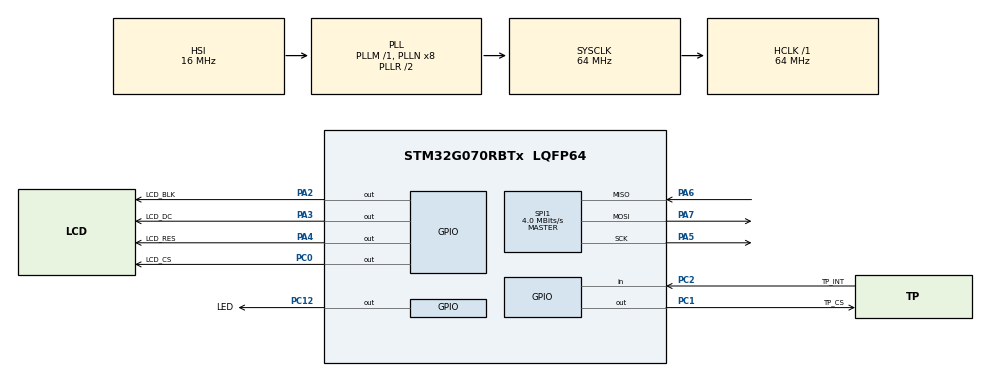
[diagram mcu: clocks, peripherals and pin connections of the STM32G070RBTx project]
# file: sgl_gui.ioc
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Mcu.Family=STM32G0
Mcu.Name=STM32G070RBTx
Mcu.Package=LQFP64
PA13.Mode=Serial_Wire
PA13.Signal=SYS_SWDIO
PA14-BOOT0.Mode=Serial_Wire
PA14-BOOT0.Signal=SYS_SWCLK
PA2.GPIO_Label=LCD_BLK
PA2.GPIO_ModeDefaultOutputPP=GPIO_MODE_OUTPUT_PP
PA2.GPIO_PuPd=GPIO_NOPULL
PA2.GPIO_Speed=GPIO_SPEED_FREQ_MEDIUM
PA2.PinState=GPIO_PIN_SET
PA2.Signal=GPIO_Output
PA3.GPIO_Label=LCD_DC
PA3.GPIO_ModeDefaultOutputPP=GPIO_MODE_OUTPUT_PP
PA3.GPIO_PuPd=GPIO_NOPULL
PA3.GPIO_Speed=GPIO_SPEED_FREQ_MEDIUM
PA3.PinState=GPIO_PIN_SET
PA3.Signal=GPIO_Output
PA4.GPIO_Label=LCD_RES
PA4.GPIO_ModeDefaultOutputPP=GPIO_MODE_OUTPUT_PP
PA4.GPIO_PuPd=GPIO_NOPULL
PA4.GPIO_Speed=GPIO_SPEED_FREQ_MEDIUM
PA4.PinState=GPIO_PIN_SET
PA4.Signal=GPIO_Output
PA5.Mode=Full_Duplex_Master
PA5.Signal=SPI1_SCK
PA6.Mode=Full_Duplex_Master
PA6.Signal=SPI1_MISO
PA7.Mode=Full_Duplex_Master
PA7.Signal=SPI1_MOSI
PC0.GPIO_Label=LCD_CS
PC0.GPIO_ModeDefaultOutputPP=GPIO_MODE_OUTPUT_PP
PC0.GPIO_PuPd=GPIO_NOPULL
PC0.GPIO_Speed=GPIO_SPEED_FREQ_MEDIUM
PC0.PinState=GPIO_PIN_SET
PC0.Signal=GPIO_Output
PC1.GPIO_Label=TP_CS
PC1.GPIO_ModeDefaultOutputPP=GPIO_MODE_OUTPUT_PP
PC1.GPIO_PuPd=GPIO_NOPULL
PC1.GPIO_Speed=GPIO_SPEED_FREQ_MEDIUM
PC1.PinState=GPIO_PIN_SET
PC1.Signal=GPIO_Output
PC12.GPIO_Label=LED
PC12.Signal=GPIO_Output
PC2.GPIO_Label=TP_INT
PC2.GPIO_PuPd=GPIO_PULLUP
PC2.Signal=GPIO_Input
ProjectManager.HeapSize=0x200
ProjectManager.StackSize=0x400
ProjectManager.TargetToolchain=CMake
RCC.ADCFreq_Value=64000000
RCC.AHBFreq_Value=64000000
RCC.CortexFreq_Value=64000000
RCC.EXTERNAL_CLOCK_VALUE=48000
RCC.HCLKFreq_Value=64000000
RCC.HSE_VALUE=8000000
RCC.HSI_VALUE=16000000
RCC.LSE_VALUE=32768
RCC.SYSCLKFreq_VALUE=64000000
RCC.SYSCLKSource=RCC_SYSCLKSOURCE_PLLCLK
RCC.VCOOutputFreq_Value=128000000
SPI1.BaudRatePrescaler=SPI_BAUDRATEPRESCALER_16
SPI1.CalculateBaudRate=4.0 MBits/s
SPI1.DataSize=SPI_DATASIZE_8BIT
SPI1.Direction=SPI_DIRECTION_2LINES
SPI1.Mode=SPI_MODE_MASTER
SPI1.VirtualType=VM_MASTER
board=custom

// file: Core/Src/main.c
/* USER CODE BEGIN Header */
/**
 ******************************************************************************
 * @file           : main.c
 * @brief          : Main program body
 ******************************************************************************
 * @attention
 *
 * Copyright (c) 2025 STMicroelectronics.
 * All rights reserved.
 *
 * This software is licensed under terms that can be found in the LICENSE file
 * in the root directory of this software component.
 * If no LICENSE file comes with this software, it is provided AS-IS.
 *
 ******************************************************************************
 */
/* USER CODE END Header */
#include "main.h"
#include "spi.h"
#include "gpio.h"

/* USER CODE BEGIN Includes */
#include "log.h"
#include "sgl.h"
#include "xpt2046.h"
#include "st7789.h"

/* USER CODE END Includes */

/* USER CODE BEGIN PV */
#define PANEL_WIDTH 240
#define PANEL_HEIGHT 320

sgl_color_t panel_buffer[PANEL_WIDTH * 10];

#define CLR_BG_BASE sgl_rgb(0x0A, 0x0E, 0x17)
#define CLR_CARD_BG sgl_rgb(0x1a, 0x1e, 0x1b)
#define CLR_DIVIDER sgl_rgb(0x1D, 0x27, 0x2B)
#define CLR_CYBER_BLUE sgl_rgb(0x00, 0xF3, 0xFF)
#define CLR_NEON_GREEN sgl_rgb(0x00, 0xFF, 0x66)
#define CLR_PLOT_BG sgl_rgb(0x12, 0x10, 0x0b)
#define CLR_MAGENTA sgl_rgb(0xFF, 0x00, 0xFF)
#define CLR_TEXT_GRAY sgl_rgb(0x6B, 0x7B, 0x93)
#define CLR_TEXT sgl_rgb(0xa0, 0xaB, 0xa3)
#define CLR_WHITE sgl_rgb(0xFF, 0xFF, 0xFF)

/* USER CODE END PV */

void SystemClock_Config(void);

/* USER CODE BEGIN 0 */
void tft_panel_flush_area(sgl_area_t *area, sgl_color_t *src)
{

    int16_t x1 = area->x1;
    int16_t y1 = area->y1;
    int16_t x2 = area->x2;
    int16_t y2 = area->y2;

    const uint16_t w = x2 - x1 + 1;
    const uint16_t h = y2 - y1 + 1;

    // tft flush win
    // log_debug("draw pos: %d, %d, %d, %d", x1, y1, x2, y2);

    st7789_fill_area(x1, y1, w, h, (uint16_t *)src);

    sgl_fbdev_flush_ready();
}

static uint16_t pos_x = 0;
static uint16_t pos_y = 0;

void touch_read_event()
{
    bool touch_status = xpt2046_touched();

    xpt2046_get_pos(&pos_x, &pos_y);

    sgl_event_pos_input(pos_x, pos_y, touch_status);

    // log_debug("touch pos [%d] :%d,%d", touch_status, pos_x, pos_y);
}

void sgl_debug_print(const char *str)
{
    // log_debug(str);
    SEGGER_RTT_printf(0, "%s", str);
}

static const uint8_t icon_light_pixmap[] = {
    0x00,
    0x00,
    0x00,
    0x00,
    0x00,
    0x00,
    0x00,
    0x00,
    0x00,
    0x00,
    0x00,
    0x00,
    0x00,
    0x00,
    0x00,
    0x00,
    0x00,
    0x00,
    0x00,
    0x00,
    0x00,
    0x00,
    0x00,
    0x00,
    0x00,
    0x00,
    0x00,
    0x00,
    0x00,
    0x00,
    0x00,
    0x88,
    0x00,
    0x00,
    0x00,
    0x00,
    0x00,
    0x00,
    0x00,
    0x00,
    0x00,
    0x00,
    0x00,
    0x00,
    0x00,
    0x00,
    0x00,
    0x00,
    0x00,
    0x00,
    0x00,
    0x00,
    0x88,
    0x00,
    0x00,
    0x00,
    0x00,
    0x00,
    0x00,
    0x00,
    0x00,
    0x00,
    0x00,
    0x00,
    0x00,
    0x00,
    0x00,
    0x00,
    0x00,
    0x00,
    0x00,
    0x00,
    0x00,
    0x88,
    0x00,
    0x00,
    0x00,
    0x00,
    0x00,
    0x00,
    0x00,
    0x00,
    0x00,
    0x00,
    0x00,
    0x00,
    0x00,
    0x00,
    0x00,
    0x00,
    0x00,
    0x00,
    0x00,
    0x00,
    0x88,
    0x00,
    0x00,
    0x00,
    0x00,
    0x00,
    0x00,
    0x00,
    0x00,
    0x00,
    0x00,
    0x00,
    0x00,
    0x00,
    0x00,
    0x00,
    0x00,
    0x00,
    0x00,
    0x00,
    0x00,
    0x88,
    0x00,
    0x00,
    0x00,
    0x00,
    0x00,
    0x00,
    0x00,
    0x00,
    0x00,
    0x00,
    0x00,
    0x00,
    0x00,
    0x00,
    0x00,
    0x00,
    0x00,
    0x00,
    0x00,
    0x00,
    0x88,
    0x00,
    0x00,
    0x00,
    0x00,
    0x00,
    0x00,
    0x00,
    0x00,
    0x00,
    0x00,
    0x00,
    0x00,
    0x00,
    0x00,
    0x00,
    0x00,
    0x00,
    0x00,
    0x00,
    0x00,
    0x88,
    0x00,
    0x00,
    0x00,
    0x00,
    0x00,
    0x00,
    0x00,
    0x00,
    0x00,
    0x00,
    0x00,
    0x00,
    0x00,
    0x00,
    0x00,
    0x00,
    0x00,
    0x00,
    0x00,
    0x00,
    0x88,
    0x00,
    0x00,
    0x00,
    0x00,
    0x00,
    0x00,
    0x00,
    0x00,
    0x00,
    0x00,
    0x00,
    0x00,
    0x00,
    0x00,
    0x00,
    0x00,
    0x00,
    0x00,
    0x00,
    0x00,
    0x88,
    0x00,
    0x00,
    0x00,
    0x00,
    0x00,
    0x00,
    0x00,
    0x00,
    0x00,
    0x00,
    0x00,
    0x00,
    0x00,
    0x00,
    0x00,
    0x00,
    0x00,
    0x00,
    0x00,
    0x00,
    0x88,
    0x00,
    0x00,
    0x00,
    0x00,
    0x00,
    0x00,
    0x00,
    0x00,
    0x00,
    0x00,
    0x00,
    0x00,
    0x00,
    0x00,
    0x00,
    0x00,
    0x00,
    0x00,
    0x00,
    0x00,
    0x88,
    0x00,
    0x00,
    0x00,
    0x00,
    0x00,
    0x00,
    0x00,
    0x00,
    0x00,
    0x00,
    0x00,
    0x00,
    0x00,
    0x00,
    0x00,
    0x00,
    0x00,
    0x00,
    0x07,
    0x88,
    0x88,
    0x88,
    0x80,
    0x00,
    0x00,
    0x00,
    0x00,
    0x00,
    0x00,
    0x00,
    0x00,
    0x00,
    0x00,
    0x00,
    0x00,
    0x00,
    0x00,
    0x00,
    0x08,
    0x88,
    0x88,
    0x88,
    0x88,
    0x88,
    0x80,
    0x00,
    0x00,
    0x00,
    0x00,
    0x00,
    0x00,
    0x00,
    0x00,
    0x00,
    0x00,
    0x00,
    0x00,
    0x00,
    0x07,
    0x88,
    0x88,
    0x88,
    0x87,
    0x88,
    0x88,
    0x88,
    0x70,
    0x00,
    0x00,
    0x00,
    0x00,
    0x00,
    0x00,
    0x00,
    0x00,
    0x00,
    0x00,
    0x00,
    0x00,
    0x88,
    0x88,
    0x80,
    0x00,
    0x00,
    0x00,
    0x07,
    0x88,
    0x88,
    0x00,
    0x00,
    0x00,
    0x00,
    0x00,
    0x00,
    0x00,
    0x00,
    0x00,
    0x00,
    0x00,
    0x06,
    0x88,
    0x88,
    0x00,
    0x00,
    0x00,
    0x00,
    0x00,
    0x78,
    0x88,
    0x00,
    0x00,
    0x00,
    0x00,
    0x00,
    0x00,
    0x00,
    0x00,
    0x00,
    0x00,
    0x00,
    0x08,
    0x88,
    0x00,
    0x00,
    0x00,
    0x00,
    0x00,
    0x00,
    0x00,
    0x88,
    0x80,
    0x00,
    0x00,
    0x00,
    0x00,
    0x00,
    0x00,
    0x00,
    0x00,
    0x00,
    0x00,
    0x88,
    0x88,
    0x00,
    0x00,
    0x00,
    0x00,
    0x00,
    0x00,
    0x00,
    0x88,
    0x87,
    0x00,
    0x00,
    0x00,
    0x00,
    0x00,
    0x00,
    0x00,
    0x00,
    0x00,
    0x00,
    0x88,
    0x80,
    0x00,
    0x00,
    0x00,
    0x00,
    0x00,
    0x00,
    0x00,
    0x08,
    0x88,
    0x00,
    0x00,
    0x00,
    0x00,
    0x00,
    0x00,
    0x00,
    0x00,
    0x00,
    0x00,
    0x88,
    0x00,
    0x00,
    0x00,
    0x00,
    0x00,
    0x00,
    0x00,
    0x00,
    0x00,
    0x88,
    0x00,
    0x00,
    0x00,
    0x00,
    0x00,
    0x00,
    0x00,
    0x00,
    0x00,
    0x07,
    0x88,
    0x00,
    0x00,
    0x00,
    0x00,
    0x00,
    0x00,
    0x00,
    0x00,
    0x00,
    0x88,
    0x60,
    0x00,
    0x00,
    0x00,
    0x00,
    0x00,
    0x00,
    0x00,
    0x00,
    0x08,
    0x88,
    0x00,
    0x00,
    0x00,
    0x00,
    0x00,
    0x00,
    0x00,
    0x00,
    0x00,
    0x88,
    0x80,
    0x00,
    0x00,
    0x00,
    0x00,
    0x00,
    0x00,
    0x00,
    0x00,
    0x08,
    0x88,
    0x88,
    0x88,
    0x88,
    0x88,
    0x88,
    0x88,
    0x88,
    0x88,
    0x88,
    0x88,
    0x80,
    0x00,
    0x00,
    0x00,
    0x00,
    0x00,
    0x00,
    0x00,
    0x00,
    0x08,
    0x88,
    0x88,
    0x88,
    0x88,
    0x88,
    0x88,
    0x88,
    0x88,
    0x88,
    0x88,
    0x88,
    0x80,
    0x00,
    0x00,
    0x00,
    0x00,
    0x00,
    0x00,
    0x00,
    0x00,
    0x08,
    0x88,
    0x88,
    0x88,
    0x88,
    0x88,
    0x88,
    0x88,
    0x88,
    0x88,
    0x88,
    0x88,
    0x80,
    0x00,
    0x00,
    0x00,
    0x00,
    0x00,
    0x00,
    0x00,
    0x00,
    0x08,
    0x88,
    0x00,
    0x00,
    0x00,
    0x00,
    0x00,
    0x00,
    0x00,
    0x00,
    0x00,
    0x88,
    0x80,
    0x00,
    0x00,
    0x00,
    0x00,
    0x00,
    0x00,
    0x00,
    0x00,
    0x08,
    0x88,
    0x88,
    0x88,
    0x88,
    0x88,
    0x88,
    0x88,
    0x88,
    0x88,
    0x88,
    0x88,
    0x70,
    0x00,
    0x00,
    0x00,
    0x00,
    0x00,
    0x00,
    0x00,
    0x00,
    0x00,
    0x88,
    0x88,
    0x88,
    0x88,
    0x88,
    0x88,
    0x88,
    0x88,
    0x88,
    0x88,
    0x88,
    0x00,
    0x00,
    0x00,
    0x00,
    0x00,
    0x00,
    0x00,
    0x00,
    0x00,
    0x00,
    0x00,
    0x00,
    0x00,
    0x08,
    0x88,
    0x00,
    0x88,
    0x80,
    0x00,
    0x00,
    0x00,
    0x00,
    0x00,
    0x00,
    0x00,
    0x00,
    0x00,
    0x00,
    0x00,
    0x00,
    0x00,
    0x00,
    0x00,
    0x00,
    0x08,
    0x88,
    0x88,
    0x88,
    0x80,
    0x00,
    0x00,
    0x00,
    0x00,
    0x00,
    0x00,
    0x00,
    0x00,
    0x00,
    0x00,
    0x00,
    0x00,
    0x00,
    0x00,
    0x00,
    0x00,
    0x07,
    0x88,
    0x88,
    0x88,
    0x70,
    0x00,
    0x00,
    0x00,
    0x00,
    0x00,
    0x00,
    0x00,
    0x00,
    0x00,
    0x00,
    0x00,
    0x00,
    0x00,
    0x00,
    0x87,
    0x00,
    0x00,
    0x88,
    0x88,
    0x87,
    0x00,
    0x00,
    0x88,
    0x00,
    0x00,
    0x00,
    0x00,
    0x00,
    0x00,
    0x00,
    0x00,
    0x00,
    0x00,
    0x00,
    0x08,
    0x88,
    0x00,
    0x00,
    0x00,
    0x00,
    0x00,
    0x00,
    0x00,
    0x88,
    0x80,
    0x00,
    0x00,
    0x00,
    0x00,
    0x00,
    0x00,
    0x00,
    0x00,
    0x00,
    0x00,
    0x88,
    0x88,
    0x00,
    0x00,
    0x00,
    0x00,
    0x00,
    0x00,
    0x00,
    0x88,
    0x88,
    0x00,
    0x00,
    0x00,
    0x00,
    0x00,
    0x00,
    0x00,
    0x00,
    0x00,
    0x07,
    0x88,
    0x80,
    0x00,
    0x00,
    0x00,
    0x88,
    0x00,
    0x00,
    0x00,
    0x08,
    0x88,
    0x80,
    0x00,
    0x00,
    0x00,
    0x00,
    0x00,
    0x00,
    0x00,
    0x00,
    0x07,
    0x88,
    0x00,
    0x00,
    0x00,
    0x00,
    0x88,
    0x00,
    0x00,
    0x00,
    0x00,
    0x88,
    0x70,
    0x00,
    0x00,
    0x00,
    0x00,
    0x00,
    0x00,
    0x00,
    0x00,
    0x00,
    0x00,
    0x00,
    0x00,
    0x00,
    0x00,
    0x88,
    0x00,
    0x00,
    0x00,
    0x00,
    0x00,
    0x00,
    0x00,
    0x00,
    0x00,
    0x00,
    0x00,
    0x00,
    0x00,
    0x00,
    0x00,
    0x00,
    0x00,
    0x00,
    0x00,
    0x00,
    0x88,
    0x00,
    0x00,
    0x00,
    0x00,
    0x00,
    0x00,
    0x00,
    0x00,
    0x00,
    0x00,
    0x00,
    0x00,
    0x00,
    0x00,
    0x00,
    0x00,
    0x00,
    0x00,
    0x00,
    0x00,
    0x88,
    0x00,
    0x00,
    0x00,
    0x00,
    0x00,
    0x00,
    0x00,
    0x00,
    0x00,
    0x00,
    0x00,
    0x00,
    0x00,
    0x00,
    0x00,
    0x00,
    0x00,
    0x00,
    0x00,
    0x00,
    0x77,
    0x00,
    0x00,
    0x00,
    0x00,
    0x00,
    0x00,
    0x00,
    0x00,
    0x00,
    0x00,
    0x00,
    0x00,
    0x00,
    0x00,
    0x00,
    0x00,
    0x00,
    0x00,
    0x00,
    0x00,
    0x00,
    0x00,
    0x00,
    0x00,
    0x00,
    0x00,
    0x00,
    0x00,
    0x00,
    0x00,
    0x00,
};

static sgl_icon_pixmap_t icon_light = {
    .bitmap = icon_light_pixmap,
    .width = 42,
    .height = 42,
};

static const uint8_t icon_lock_pixmap[] = {
    0x00,
    0x00,
    0x00,
    0x00,
    0x00,
    0x00,
    0x78,
    0x88,
    0x88,
    0x87,
    0x00,
    0x00,
    0x00,
    0x00,
    0x00,
    0x00,
    0x00,
    0x00,
    0x00,
    0x00,
    0x00,
    0x78,
    0x88,
    0x88,
    0x88,
    0x88,
    0x80,
    0x00,
    0x00,
    0x00,
    0x00,
    0x00,
    0x00,
    0x00,
    0x00,
    0x00,
    0x08,
    0x88,
    0x88,
    0x80,
    0x08,
    0x88,
    0x88,
    0x00,
    0x00,
    0x00,
    0x00,
    0x00,
    0x00,
    0x00,
    0x00,
    0x00,
    0x08,
    0x88,
    0x80,
    0x00,
    0x00,
    0x08,
    0x88,
    0x80,
    0x00,
    0x00,
    0x00,
    0x00,
    0x00,
    0x00,
    0x00,
    0x00,
    0x88,
    0x88,
    0x00,
    0x00,
    0x00,
    0x00,
    0x88,
    0x88,
    0x00,
    0x00,
    0x00,
    0x00,
    0x00,
    0x00,
    0x00,
    0x00,
    0x88,
    0x80,
    0x00,
    0x00,
    0x00,
    0x00,
    0x08,
    0x88,
    0x00,
    0x00,
    0x00,
    0x00,
    0x00,
    0x00,
    0x00,
    0x00,
    0x88,
    0x80,
    0x00,
    0x00,
    0x00,
    0x00,
    0x08,
    0x88,
    0x00,
    0x00,
    0x00,
    0x00,
    0x00,
    0x00,
    0x00,
    0x00,
    0x88,
    0x70,
    0x00,
    0x00,
    0x00,
    0x00,
    0x08,
    0x88,
    0x00,
    0x00,
    0x00,
    0x00,
    0x00,
    0x00,
    0x00,
    0x00,
    0x88,
    0x00,
    0x00,
    0x00,
    0x00,
    0x00,
    0x0b,
    0x88,
    0x00,
    0x00,
    0x00,
    0x00,
    0x00,
    0x00,
    0x00,
    0x00,
    0x88,
    0x00,
    0x00,
    0x00,
    0x00,
    0x00,
    0x0b,
    0x88,
    0x00,
    0x00,
    0x00,
    0x00,
    0x00,
    0x00,
    0x00,
    0x00,
    0x88,
    0x00,
    0x00,
    0x00,
    0x00,
    0x00,
    0x0b,
    0x88,
    0x00,
    0x00,
    0x00,
    0x00,
    0x00,
    0x00,
    0x00,
    0x06,
    0x88,
    0x60,
    0x00,
    0x00,
    0x00,
    0x00,
    0x06,
    0x88,
    0x00,
    0x00,
    0x00,
    0x00,
    0x00,
    0x00,
    0xb8,
    0x88,
    0x88,
    0x88,
    0x88,
    0x88,
    0x88,
    0x88,
    0x88,
    0x88,
    0x88,
    0x80,
    0x00,
    0x00,
    0x00,
    0x00,
    0x88,
    0x88,
    0x88,
    0x88,
    0x88,
    0x88,
    0x88,
    0x88,
    0x88,
    0x88,
    0x88,
    0x88,
    0x00,
    0x00,
    0x00,
    0x00,
    0x88,
    0x80,
    0x00,
    0x00,
    0x00,
    0x00,
    0x00,
    0x00,
    0x00,
    0x00,
    0x08,
    0x88,
    0x00,
    0x00,
    0x00,
    0x00,
    0x88,
    0x00,
    0x00,
    0x00,
    0x00,
    0x00,
    0x00,
    0x00,
    0x00,
    0x00,
    0x0b,
    0x88,
    0x00,
    0x00,
    0x00,
    0x00,
    0x88,
    0x00,
    0x00,
    0x00,
    0x00,
    0x00,
    0x00,
    0x00,
    0x00,
    0x00,
    0x0b,
    0x88,
    0x00,
    0x00,
    0x00,
    0x00,
    0x88,
    0x00,
    0x00,
    0x00,
    0x00,
    0x00,
    0x00,
    0x00,
    0x00,
    0x00,
    0x0b,
    0x88,
    0x00,
    0x00,
    0x00,
    0x00,
    0x88,
    0x00,
    0x00,
    0x00,
    0x06,
    0x88,
    0x88,
    0x00,
    0x00,
    0x00,
    0x0b,
    0x88,
    0x00,
    0x00,
    0x00,
    0x00,
    0x88,
    0x00,
    0x00,
    0x00,
    0x08,
    0x88,
    0x88,
    0x80,
    0x00,
    0x00,
    0x0b,
    0x88,
    0x00,
    0x00,
    0x00,
    0x00,
    0x88,
    0x00,
    0x00,
    0x00,
    0x08,
    0x88,
    0x88,
    0x80,
    0x00,
    0x00,
    0x0b,
    0x88,
    0x00,
    0x00,
    0x00,
    0x00,
    0x88,
    0x00,
    0x00,
    0x00,
    0x08,
    0x88,
    0x88,
    0x80,
    0x00,
    0x00,
    0x0b,
    0x88,
    0x00,
    0x00,
    0x00,
    0x00,
    0x88,
    0x00,
    0x00,
    0x00,
    0x08,
    0x88,
    0x88,
    0x80,
    0x00,
    0x00,
    0x0b,
    0x88,
    0x00,
    0x00,
    0x00,
    0x00,
    0x88,
    0x00,
    0x00,
    0x00,
    0x08,
    0x88,
    0x88,
    0x80,
    0x00,
    0x00,
    0x0b,
    0x88,
    0x00,
    0x00,
    0x00,
    0x00,
    0x88,
    0x00,
    0x00,
    0x00,
    0x00,
    0x88,
    0x88,
    0x00,
    0x00,
    0x00,
    0x0b,
    0x88,
    0x00,
    0x00,
    0x00,
    0x00,
    0x88,
    0x00,
    0x00,
    0x00,
    0x00,
    0x08,
    0x80,
    0x00,
    0x00,
    0x00,
    0x0b,
    0x88,
    0x00,
    0x00,
    0x00,
    0x00,
    0x88,
    0x00,
    0x00,
    0x00,
    0x00,
    0x08,
    0x80,
    0x00,
    0x00,
    0x00,
    0x0b,
    0x88,
    0x00,
    0x00,
    0x00,
    0x00,
    0x88,
    0x00,
    0x00,
    0x00,
    0x00,
    0x08,
    0x80,
    0x00,
    0x00,
    0x00,
    0x0b,
    0x88,
    0x00,
    0x00,
    0x00,
    0x00,
    0x88,
    0x00,
    0x00,
    0x00,
    0x00,
    0x00,
    0x00,
    0x00,
    0x00,
    0x00,
    0x0b,
    0x88,
    0x00,
    0x00,
    0x00,
    0x00,
    0x88,
    0x80,
    0x00,
    0x00,
    0x00,
    0x00,
    0x00,
    0x00,
    0x00,
    0x00,
    0x08,
    0x88,
    0x00,
    0x00,
    0x00,
    0x00,
    0x88,
    0x88,
    0x88,
    0x88,
    0x88,
    0x88,
    0x88,
    0x88,
    0x88,
    0x88,
    0x88,
    0x88,
    0x00,
    0x00,
    0x00,
    0x00,
    0xb8,
    0x88,
    0x88,
    0x88,
    0x88,
    0x88,
    0x88,
    0x88,
    0x88,
    0x88,
    0x88,
    0x80,
    0x00,
    0x00,
};

static sgl_icon_pixmap_t icon_lock = {
    .bitmap = icon_lock_pixmap,
    .width = 32,
    .height = 32,
};

static const uint8_t icon_fan_pixmap[] = {
    0x00,
    0x00,
    0x00,
    0x00,
    0x00,
    0x00,
    0x00,
    0x00,
    0x00,
    0x00,
    0x00,
    0x00,
    0x00,
    0x00,
    0x00,
    0x00,
    0x00,
    0x00,
    0x00,
    0x00,
    0x00,
    0x00,
    0x00,
    0x00,
    0x00,
    0x00,
    0x00,
    0x00,
    0x00,
    0x00,
    0x00,
    0x00,
    0x00,
    0x00,
    0x00,
    0x00,
    0x00,
    0x00,
    0x00,
    0x00,
    0x00,
    0x00,
    0x00,
    0x00,
    0x00,
    0x00,
    0x00,
    0x00,
    0x00,
    0x00,
    0x00,
    0x00,
    0x08,
    0x88,
    0x88,
    0x80,
    0x00,
    0x00,
    0x00,
    0x00,
    0x00,
    0x00,
    0x00,
    0x00,
    0x00,
    0x00,
    0x00,
    0x08,
    0x88,
    0x88,
    0x88,
    0x88,
    0x00,
    0x00,
    0x00,
    0x00,
    0x00,
    0x00,
    0x00,
    0x00,
    0x00,
    0x00,
    0x00,
    0x88,
    0x88,
    0x88,
    0x88,
    0x88,
    0x00,
    0x00,
    0x88,
    0x88,
    0x80,
    0x00,
    0x00,
    0x00,
    0x00,
    0x00,
    0x00,
    0x88,
    0x88,
    0x88,
    0x88,
    0x88,
    0x00,
    0x08,
    0x88,
    0x88,
    0x88,
    0xb0,
    0x00,
    0x00,
    0x00,
    0x00,
    0x08,
    0x88,
    0x88,
    0x88,
    0x88,
    0x88,
    0x00,
    0x88,
    0x88,
    0x88,
    0x88,
    0x8b,
    0x00,
    0x00,
    0x00,
    0x00,
    0x08,
    0x88,
    0x88,
    0x88,
    0x88,
    0x88,
    0x07,
    0x88,
    0x88,
    0x88,
    0x88,
    0x88,
    0x00,
    0x00,
    0x00,
    0x00,
    0x08,
    0x88,
    0x88,
    0x88,
    0x88,
    0x86,
    0x08,
    0x88,
    0x88,
    0x88,
    0x88,
    0x88,
    0x80,
    0x00,
    0x00,
    0x00,
    0x08,
    0x88,
    0x88,
    0x88,
    0x88,
    0x80,
    0x78,
    0x88,
    0x88,
    0x88,
    0x88,
    0x88,
    0x80,
    0x00,
    0x00,
    0x00,
    0x08,
    0x88,
    0x88,
    0x88,
    0x88,
    0x80,
    0x88,
    0x88,
    0x88,
    0x88,
    0x88,
    0x88,
    0x80,
    0x00,
    0x00,
    0x00,
    0x00,
    0x88,
    0x88,
    0x88,
    0x88,
    0x87,
    0x88,
    0x88,
    0x88,
    0x88,
    0x88,
    0x88,
    0x80,
    0x00,
    0x00,
    0x00,
    0x00,
    0x08,
    0x88,
    0x88,
    0x88,
    0x88,
    0x88,
    0x88,
    0x88,
    0x88,
    0x88,
    0x88,
    0x80,
    0x00,
    0x00,
    0x00,
    0x00,
    0x00,
    0x88,
    0x88,
    0x88,
    0x88,
    0x88,
    0x88,
    0x88,
    0x88,
    0x88,
    0x88,
    0x80,
    0x00,
    0x00,
    0x00,
    0x00,
    0x00,
    0x00,
    0x88,
    0x88,
    0x80,
    0x08,
    0x88,
    0x00,
    0x78,
    0x88,
    0x88,
    0x00,
    0x00,
    0x00,
    0x00,
    0x88,
    0x88,
    0x87,
    0x08,
    0x88,
    0x80,
    0x68,
    0x88,
    0x88,
    0x00,
    0x00,
    0x00,
    0x00,
    0x00,
    0x00,
    0x08,
    0x88,
    0x88,
    0x88,
    0x88,
    0x88,
    0x88,
    0x88,
    0x88,
    0x88,
    0x88,
    0x00,
    0x00,
    0x00,
    0x00,
    0x00,
    0x08,
    0x88,
    0x88,
    0x88,
    0x88,
    0x88,
    0x88,
    0x88,
    0x88,
    0x88,
    0x88,
    0x80,
    0x00,
    0x00,
    0x00,
    0x00,
    0xb8,
    0x88,
    0x88,
    0x88,
    0x88,
    0x88,
    0x88,
    0x88,
    0x88,
    0x88,
    0x88,
    0x88,
    0x00,
    0x00,
    0x00,
    0x00,
    0x08,
    0x88,
    0x88,
    0x88,
    0x88,
    0x88,
    0x88,
    0xb8,
    0x88,
    0x88,
    0x88,
    0x88,
    0x00,
    0x00,
    0x00,
    0x00,
    0x08,
    0x88,
    0x88,
    0x88,
    0x88,
    0x88,
    0x88,
    0x08,
    0x88,
    0x88,
    0x88,
    0x88,
    0x80,
    0x00,
    0x00,
    0x00,
    0x08,
    0x88,
    0x88,
    0x88,
    0x88,
    0x88,
    0x80,
    0x88,
    0x88,
    0x88,
    0x88,
    0x88,
    0x80,
    0x00,
    0x00,
    0x00,
    0x00,
    0x88,
    0x88,
    0x88,
    0x88,
    0x88,
    0x80,
    0x88,
    0x88,
    0x88,
    0x88,
    0x88,
    0x80,
    0x00,
    0x00,
    0x00,
    0x00,
    0x88,
    0x88,
    0x88,
    0x88,
    0x88,
    0x00,
    0x88,
    0x88,
    0x88,
    0x88,
    0x88,
    0x80,
    0x00,
    0x00,
    0x00,
    0x00,
    0x08,
    0x88,
    0x88,
    0x88,
    0x80,
    0x08,
    0x88,
    0x88,
    0x88,
    0x88,
    0x88,
    0x00,
    0x00,
    0x00,
    0x00,
    0x00,
    0x00,
    0x08,
    0x88,
    0x88,
    0x00,
    0x06,
    0x88,
    0x88,
    0x88,
    0x88,
    0x80,
    0x00,
    0x00,
    0x00,
    0x00,
    0x00,
    0x00,
    0x00,
    0x00,
    0x00,
    0x00,
    0x00,
    0x88,
    0x88,
    0x88,
    0x88,
    0xb0,
    0x00,
    0x00,
    0x00,
    0x00,
    0x00,
    0x00,
    0x00,
    0x00,
    0x00,
    0x00,
    0x00,
    0x08,
    0x88,
    0x88,
    0x80,
    0x00,
    0x00,
    0x00,
    0x00,
    0x00,
    0x00,
    0x00,
    0x00,
    0x00,
    0x00,
    0x00,
    0x00,
    0x00,
    0x00,
    0x00,
    0x00,
    0x00,
    0x00,
    0x00,
    0x00,
    0x00,
    0x00,
    0x00,
    0x00,
    0x00,
    0x00,
    0x00,
    0x00,
    0x00,
    0x00,
    0x00,
    0x00,
    0x00,
    0x00,
    0x00,
    0x00,
    0x00,
    0x00,
    0x00,
    0x00,
    0x00,
    0x00,
    0x00,
    0x00,
    0x00,
    0x00,
    0x00,
    0x00,
    0x00,
    0x00,
    0x00,
    0x00,
};

static sgl_icon_pixmap_t icon_fan = {
    .bitmap = icon_fan_pixmap,
    .width = 32,
    .height = 32,
};

static const uint8_t icon_fan30_pixmap[] = {
    0x00,
    0x00,
    0x00,
    0x00,
    0x00,
    0x00,
    0x00,
    0x00,
    0x00,
    0x00,
    0x00,
    0x00,
    0x00,
    0x00,
    0x00,
    0x00,
    0x00,
    0x00,
    0x00,
    0x00,
    0x00,
    0x00,
    0x00,
    0x00,
    0x00,
    0x00,
    0x00,
    0x00,
    0x00,
    0x00,
    0x00,
    0x00,
    0x00,
    0x00,
    0x00,
    0x00,
    0x00,
    0x00,
    0x00,
    0x00,
    0x08,
    0x88,
    0xbb,
    0x00,
    0x00,
    0x00,
    0x00,
    0x00,
    0x00,
    0x00,
    0x00,
    0x00,
    0x00,
    0x00,
    0x00,
    0x00,
    0x88,
    0x88,
    0x8b,
    0x80,
    0x00,
    0x00,
    0x00,
    0x00,
    0x00,
    0x00,
    0x00,
    0x00,
    0x00,
    0x00,
    0x00,
    0x88,
    0x88,
    0x88,
    0x88,
    0x88,
    0x00,
    0x00,
    0x00,
    0x00,
    0x00,
    0x00,
    0x00,
    0x00,
    0x80,
    0x00,
    0x00,
    0x88,
    0x88,
    0x88,
    0x88,
    0x88,
    0x80,
    0x00,
    0x00,
    0x00,
    0x00,
    0x00,
    0x00,
    0x88,
    0x88,
    0x80,
    0x00,
    0x88,
    0x88,
    0x88,
    0x88,
    0x88,
    0x88,
    0x00,
    0x00,
    0x00,
    0x00,
    0x00,
    0x08,
    0x88,
    0x88,
    0x80,
    0x08,
    0x88,
    0x88,
    0x88,
    0x88,
    0x88,
    0x88,
    0x00,
    0x00,
    0x00,
    0x00,
    0x00,
    0x88,
    0x88,
    0x88,
    0x88,
    0x07,
    0x88,
    0x88,
    0x88,
    0x88,
    0x88,
    0x88,
    0x80,
    0x00,
    0x00,
    0x00,
    0x08,
    0x88,
    0x88,
    0x88,
    0x88,
    0x08,
    0x88,
    0x88,
    0x88,
    0x88,
    0x88,
    0x88,
    0x00,
    0x00,
    0x00,
    0x00,
    0x88,
    0x88,
    0x88,
    0x88,
    0x88,
    0x60,
    0x88,
    0x88,
    0x88,
    0x88,
    0x88,
    0x88,
    0x00,
    0x00,
    0x00,
    0x00,
    0x88,
    0x88,
    0x88,
    0x88,
    0x88,
    0x07,
    0x88,
    0x88,
    0x88,
    0x88,
    0x88,
    0x00,
    0x00,
    0x00,
    0x00,
    0x00,
    0x88,
    0x88,
    0x88,
    0x88,
    0x88,
    0x80,
    0x88,
    0x88,
    0x88,
    0x07,
    0x00,
    0x00,
    0x00,
    0x00,
    0x00,
    0x00,
    0x88,
    0x88,
    0x88,
    0x88,
    0x88,
    0x87,
    0x88,
    0x88,
    0x80,
    0x80,
    0x88,
    0x80,
    0x00,
    0x00,
    0x00,
    0x00,
    0x88,
    0x88,
    0x88,
    0x88,
    0x88,
    0x88,
    0x88,
    0x88,
    0x88,
    0x88,
    0x88,
    0x88,
    0x80,
    0x00,
    0x00,
    0x00,
    0x08,
    0x88,
    0x88,
    0x88,
    0x88,
    0x88,
    0x80,
    0x08,
    0x88,
    0x88,
    0x88,
    0x88,
    0x88,
    0x00,
    0x00,
    0x00,
    0x00,
    0x88,
    0x88,
    0x88,
    0x88,
    0x88,
    0x80,
    0x68,
    0x88,
    0x88,
    0x88,
    0x88,
    0x88,
    0x80,
    0x00,
    0x00,
    0x00,
    0x88,
    0x88,
    0x88,
    0x88,
    0x88,
    0x88,
    0x88,
    0x88,
    0x88,
    0x88,
    0x88,
    0x88,
    0x88,
    0x00,
    0x00,
    0x00,
    0x00,
    0x08,
    0x88,
    0x08,
    0x88,
    0x88,
    0x88,
    0x88,
    0x88,
    0x88,
    0x88,
    0x88,
    0x88,
    0x00,
    0x00,
    0x00,
    0x00,
    0x00,
    0x00,
    0x70,
    0x88,
    0x88,
    0x88,
    0xb8,
    0x88,
    0x88,
    0x88,
    0x88,
    0x88,
    0x00,
    0x00,
    0x00,
    0x00,
    0x00,
    0x88,
    0x88,
    0x88,
    0x88,
    0x88,
    0x80,
    0x88,
    0x88,
    0x88,
    0x88,
    0x80,
    0x00,
    0x00,
    0x00,
    0x00,
    0x88,
    0x88,
    0x88,
    0x88,
    0x88,
    0x88,
    0x08,
    0x88,
    0x88,
    0x88,
    0x88,
    0xbb,
    0x00,
    0x00,
    0x00,
    0x00,
    0x88,
    0x88,
    0x88,
    0x88,
    0x88,
    0x88,
    0x80,
    0x88,
    0x88,
    0x88,
    0x88,
    0x80,
    0x00,
    0x00,
    0x00,
    0x08,
    0x88,
    0x88,
    0x88,
    0x88,
    0x88,
    0x88,
    0x80,
    0x88,
    0x88,
    0x88,
    0x88,
    0x00,
    0x00,
    0x00,
    0x00,
    0x00,
    0x88,
    0x88,
    0x88,
    0x88,
    0x88,
    0x88,
    0x80,
    0x88,
    0x88,
    0x88,
    0x80,
    0x00,
    0x00,
    0x00,
    0x00,
    0x00,
    0x88,
    0x88,
    0x88,
    0x88,
    0x88,
    0x88,
    0x00,
    0x68,
    0x88,
    0x88,
    0x00,
    0x00,
    0x00,
    0x00,
    0x00,
    0x00,
    0x08,
    0x88,
    0x88,
    0x88,
    0x88,
    0x88,
    0x00,
    0x00,
    0x08,
    0x00,
    0x00,
    0x00,
    0x00,
    0x00,
    0x00,
    0x00,
    0x00,
    0x88,
    0x88,
    0x88,
    0x88,
    0x88,
    0x00,
    0x00,
    0x00,
    0x00,
    0x00,
    0x00,
    0x00,
    0x00,
    0x00,
    0x00,
    0x00,
    0x08,
    0x88,
    0x88,
    0x88,
    0x00,
    0x00,
    0x00,
    0x00,
    0x00,
    0x00,
    0x00,
    0x00,
    0x00,
    0x00,
    0x00,
    0x00,
    0x00,
    0x88,
    0x88,
    0x80,
    0x00,
    0x00,
    0x00,
    0x00,
    0x00,
    0x00,
    0x00,
    0x00,
    0x00,
    0x00,
    0x00,
    0x00,
    0x00,
    0x00,
    0x00,
    0x00,
    0x00,
    0x00,
    0x00,
    0x00,
    0x00,
    0x00,
    0x00,
    0x00,
    0x00,
    0x00,
    0x00,
    0x00,
    0x00,
    0x00,
    0x00,
    0x00,
    0x00,
    0x00,
    0x00,
    0x00,
    0x00,
    0x00,
    0x00,
    0x00,
};

static sgl_icon_pixmap_t icon_fan30 = {
    .bitmap = icon_fan30_pixmap,
    .width = 32,
    .height = 32,
};
static const uint8_t icon_fan60_pixmap[] = {
    0x00,
    0x00,
    0x00,
    0x00,
    0x00,
    0x00,
    0x00,
    0x00,
    0x00,
    0x00,
    0x00,
    0x00,
    0x00,
    0x00,
    0x00,
    0x00,
    0x00,
    0x00,
    0x00,
    0x00,
    0x00,
    0x00,
    0x00,
    0xb0,
    0x80,
    0x00,
    0x00,
    0x00,
    0x00,
    0x00,
    0x00,
    0x00,
    0x00,
    0x00,
    0x00,
    0x00,
    0x00,
    0x00,
    0x88,
    0x88,
    0x88,
    0x80,
    0x00,
    0x00,
    0x00,
    0x00,
    0x00,
    0x00,
    0x00,
    0x00,
    0x00,
    0x00,
    0x00,
    0x08,
    0x88,
    0x88,
    0x88,
    0x88,
    0x00,
    0x00,
    0x00,
    0x00,
    0x00,
    0x00,
    0x00,
    0x00,
    0x00,
    0x00,
    0x00,
    0x88,
    0x88,
    0x88,
    0x88,
    0x88,
    0x80,
    0x00,
    0x00,
    0x00,
    0x00,
    0x00,
    0x00,
    0x00,
    0x00,
    0x00,
    0x08,
    0x88,
    0x88,
    0x88,
    0x88,
    0x88,
    0x88,
    0x00,
    0x00,
    0x00,
    0x00,
    0x00,
    0x00,
    0x00,
    0x00,
    0x00,
    0x08,
    0x88,
    0x88,
    0x88,
    0x88,
    0x88,
    0x80,
    0x00,
    0x00,
    0x00,
    0x00,
    0x00,
    0x00,
    0x00,
    0x00,
    0x00,
    0x08,
    0x88,
    0x88,
    0x88,
    0x88,
    0x88,
    0x80,
    0x00,
    0x00,
    0x00,
    0x00,
    0x00,
    0x00,
    0x00,
    0x00,
    0x00,
    0x08,
    0x88,
    0x88,
    0x88,
    0x88,
    0x88,
    0x00,
    0x00,
    0x00,
    0x00,
    0x00,
    0x00,
    0x00,
    0x00,
    0x00,
    0x00,
    0x08,
    0x88,
    0x88,
    0x88,
    0x88,
    0x88,
    0x00,
    0x88,
    0x80,
    0x80,
    0x00,
    0x00,
    0x00,
    0x00,
    0x08,
    0x00,
    0x00,
    0x88,
    0x88,
    0x88,
    0x88,
    0x70,
    0x88,
    0x88,
    0x88,
    0x88,
    0x00,
    0x00,
    0x00,
    0x00,
    0x88,
    0x88,
    0x00,
    0x78,
    0x88,
    0x88,
    0x80,
    0x08,
    0x88,
    0x88,
    0x88,
    0x88,
    0x80,
    0x00,
    0x00,
    0x08,
    0x88,
    0x88,
    0x88,
    0x07,
    0x88,
    0x88,
    0x88,
    0x88,
    0x88,
    0x88,
    0x88,
    0x88,
    0x88,
    0x00,
    0x00,
    0x88,
    0x88,
    0x88,
    0x88,
    0x60,
    0x88,
    0x88,
    0x88,
    0x88,
    0x88,
    0x88,
    0x88,
    0x88,
    0x88,
    0x00,
    0x00,
    0x88,
    0x88,
    0x88,
    0x88,
    0x80,
    0x78,
    0x88,
    0x88,
    0x88,
    0x88,
    0x88,
    0x88,
    0x88,
    0x88,
    0xb0,
    0x08,
    0x88,
    0x88,
    0x88,
    0x88,
    0x88,
    0x88,
    0x80,
    0x68,
    0x88,
    0x88,
    0x88,
    0x88,
    0x88,
    0x88,
    0x00,
    0x00,
    0x88,
    0x88,
    0x88,
    0x88,
    0x88,
    0x88,
    0x80,
    0x08,
    0x88,
    0x88,
    0x88,
    0x88,
    0x88,
    0x88,
    0x80,
    0x08,
    0x88,
    0x88,
    0x88,
    0x88,
    0x88,
    0x88,
    0x88,
    0x88,
    0x88,
    0xb8,
    0x88,
    0x88,
    0x88,
    0x88,
    0x00,
    0x00,
    0x88,
    0x88,
    0x88,
    0x88,
    0x88,
    0x88,
    0x88,
    0x88,
    0x88,
    0x08,
    0x88,
    0x88,
    0x88,
    0x88,
    0x00,
    0x00,
    0x88,
    0x88,
    0x88,
    0x88,
    0x88,
    0x88,
    0x88,
    0x88,
    0x88,
    0x80,
    0x88,
    0x88,
    0x88,
    0x80,
    0x00,
    0x00,
    0x08,
    0x88,
    0x88,
    0x88,
    0x88,
    0x80,
    0x88,
    0x88,
    0x88,
    0x88,
    0x00,
    0x88,
    0x88,
    0x00,
    0x00,
    0x00,
    0x00,
    0x88,
    0x88,
    0x88,
    0x88,
    0x07,
    0x88,
    0x88,
    0x88,
    0x88,
    0x00,
    0x66,
    0x80,
    0x00,
    0x00,
    0x00,
    0x00,
    0x08,
    0x88,
    0x88,
    0x00,
    0x88,
    0x88,
    0x88,
    0x88,
    0x88,
    0x80,
    0x00,
    0x00,
    0x00,
    0x00,
    0x00,
    0x00,
    0x00,
    0x00,
    0x00,
    0x00,
    0x88,
    0x88,
    0x88,
    0x88,
    0x88,
    0x80,
    0x00,
    0x00,
    0x00,
    0x00,
    0x00,
    0x00,
    0x00,
    0x00,
    0x00,
    0x08,
    0x88,
    0x88,
    0x88,
    0x88,
    0x88,
    0x80,
    0x00,
    0x00,
    0x00,
    0x00,
    0x00,
    0x00,
    0x00,
    0x00,
    0x00,
    0x08,
    0x88,
    0x88,
    0x88,
    0x88,
    0x88,
    0x80,
    0x00,
    0x00,
    0x00,
    0x00,
    0x00,
    0x00,
    0x00,
    0x00,
    0x00,
    0x88,
    0x88,
    0x88,
    0x88,
    0x88,
    0x88,
    0x80,
    0x00,
    0x00,
    0x00,
    0x00,
    0x00,
    0x00,
    0x00,
    0x00,
    0x00,
    0x08,
    0x88,
    0x88,
    0x88,
    0x88,
    0x88,
    0x00,
    0x00,
    0x00,
    0x00,
    0x00,
    0x00,
    0x00,
    0x00,
    0x00,
    0x00,
    0x00,
    0x88,
    0x88,
    0x88,
    0x88,
    0x80,
    0x00,
    0x00,
    0x00,
    0x00,
    0x00,
    0x00,
    0x00,
    0x00,
    0x00,
    0x00,
    0x00,
    0xb8,
    0x88,
    0x88,
    0x88,
    0x00,
    0x00,
    0x00,
    0x00,
    0x00,
    0x00,
    0x00,
    0x00,
    0x00,
    0x00,
    0x00,
    0x00,
    0x00,
    0x08,
    0x08,
    0x00,
    0x00,
    0x00,
    0x00,
    0x00,
    0x00,
    0x00,
    0x00,
    0x00,
    0x00,
    0x00,
    0x00,
    0x00,
    0x00,
    0x00,
    0x00,
    0x00,
    0x00,
    0x00,
    0x00,
    0x00,
    0x00,
    0x00,
};

static sgl_icon_pixmap_t icon_fan60 = {
    .bitmap = icon_fan60_pixmap,
    .width = 32,
    .height = 32,
};

static sgl_obj_t *icon_light_r = NULL;
static sgl_obj_t *fan_r = NULL;
static sgl_obj_t *lock_r = NULL;

static bool g_fan_state = false;
static bool g_lock_state = false;

static uint32_t g_time_value = 0;
static int g_temp_value = 235;
static int g_humi_value = 542;

#define PLOT_BUFF_LEN 32
static int16_t g_plot_buff0[PLOT_BUFF_LEN] = {0};
static int16_t g_plot_value = 0;

char buff[16] = {0};

void light_cb(sgl_event_t *e)
{
    sgl_obj_t *light_val = (sgl_obj_t *)(e->param);

    uint8_t s_value = sgl_slider_get_value(e->obj);

    uint8_t brightness = s_value * 255 / 100;

    log_debug("slider val: %d", s_value);

    sprintf(buff, "%d", s_value);
    sgl_label_set_text(light_val, buff);
    sgl_icon_set_color(icon_light_r, sgl_rgb(brightness, brightness, brightness));

    if (e->type == SGL_EVENT_PRESSED)
    {
        // log_info("sgl event press");
    }
    else if (e->type == SGL_EVENT_RELEASED)
    {
        // log_info("sgl event release");

        log_info("light value : %d", s_value);
    }
}

sgl_anim_t *fan_anim = NULL;

sgl_icon_pixmap_t *fan_icons[3] = {&icon_fan, &icon_fan30, &icon_fan60};

void fan_anim_cb(sgl_anim_t *anim, int32_t val)
{
    sgl_obj_t *ico_fan = (sgl_obj_t *)(anim->data);

    // log_debug("anim val: %d", val);
    if ((val >= 0) && (val <= 2))
    {
        sgl_icon_set_icon(ico_fan, fan_icons[val]);
    }
}

void fan_click_cb(sgl_event_t *e)
{
    sgl_obj_t *fan_icon_r = (sgl_obj_t *)(e->param);
    if (e->type == SGL_EVENT_PRESSED)
    {
        // log_info("sgl event press");
        sgl_rect_set_border_color(fan_r, CLR_WHITE);
        sgl_icon_set_color(fan_icon_r, CLR_CYBER_BLUE);
    }
    else if (e->type == SGL_EVENT_RELEASED)
    {
        // log_info("sgl event release");

        g_fan_state = !g_fan_state;

        if (g_fan_state)
        {
            sgl_rect_set_border_color(fan_r, CLR_CYBER_BLUE);
            sgl_icon_set_color(fan_icon_r, CLR_CYBER_BLUE);

            // fan is running
            sgl_anim_start(fan_anim, SGL_ANIM_REPEAT_LOOP);
        }
        else
        {
            sgl_rect_set_border_color(fan_r, CLR_DIVIDER);
            sgl_icon_set_color(fan_icon_r, CLR_TEXT_GRAY);

            sgl_anim_stop(fan_anim);
        }

        log_info("fan state : %d", g_fan_state);
    }
}

void lock_click_cb(sgl_event_t *e)
{
    sgl_obj_t *lock_icon_r = (sgl_obj_t *)(e->param);
    if (e->type == SGL_EVENT_PRESSED)
    {
        // log_info("sgl event press");
        sgl_rect_set_border_color(lock_r, CLR_WHITE);
        sgl_icon_set_color(lock_icon_r, CLR_CYBER_BLUE);
    }
    else if (e->type == SGL_EVENT_RELEASED)
    {
        // log_info("sgl event release");

        g_lock_state = !g_lock_state;

        if (g_lock_state)
        {
            sgl_rect_set_border_color(lock_r, CLR_CYBER_BLUE);
            sgl_icon_set_color(lock_icon_r, CLR_CYBER_BLUE);
        }
        else
        {
            sgl_rect_set_border_color(lock_r, CLR_DIVIDER);
            sgl_icon_set_color(lock_icon_r, CLR_TEXT_GRAY);
        }

        log_info("lock state : %d", g_lock_state);
    }
}

/* USER CODE END 0 */

int main(void)
{

    /* MCU Configuration--------------------------------------------------------*/

    /* Reset of all peripherals, Initializes the Flash interface and the Systick. */
    HAL_Init();

    /* Configure the system clock */
    SystemClock_Config();

    /* Initialize all configured peripherals */
    MX_GPIO_Init();
    MX_SPI1_Init();
    /* USER CODE BEGIN 2 */
    log_init(LOG_DEBUG, false);

    log_debug("tft and touch init and test.");
    st7789_init();
    xpt2046_init();

    // st7789_fill_rect(0, 0, 240, 320, GREEN);
    // HAL_Delay(3000);
    st7789_fill_rect(0, 0, 240, 320, BLACK);
    // HAL_Delay(3000);

    log_debug("test lcd done.");

    log_debug("sgl init.");

    sgl_fbinfo_t fbinfo = {
        .xres = PANEL_WIDTH,
        .yres = PANEL_HEIGHT,
        .flush_area = tft_panel_flush_area,
        .buffer[0] = panel_buffer,
        .buffer_size = SGL_ARRAY_SIZE(panel_buffer),
    };
    sgl_fbdev_register(&fbinfo);

    sgl_logdev_register(sgl_debug_print);

    sgl_init();
    log_debug("sgl init done.");

    // HAL_Delay(1000);

    SGL_LOG_INFO("sgl debug enable.");

    log_debug("create sgl gui.");

    // value init

    const char build_time[] = __TIME__; // "HH:MM:SS"
    int h, m, s;
    sscanf(build_time, "%d:%d:%d", &h, &m, &s);
    g_time_value = h * 3600 + m * 60 + s;
    log_debug("start time: %s,%d ", build_time, g_time_value);

    /////////////////////////////////////
    // ---------------------------------------------------------
    // 0. 根页面初始化
    // ---------------------------------------------------------
    sgl_obj_t *root_page = sgl_obj_create(NULL);
    sgl_screen_load(root_page);
    sgl_page_set_color(root_page, CLR_BG_BASE); // 设置底层背景

    // ---------------------------------------------------------
    // 1. Header 顶部状态栏
    // ---------------------------------------------------------
    sgl_obj_t *dot_status = sgl_label_create(root_page);
    sgl_label_set_text(dot_status, "");
    sgl_label_set_font(dot_status, &consolas14);
    sgl_obj_set_size(dot_status, 8, 8);
    sgl_obj_set_pos(dot_status, 10, 10);
    sgl_label_set_bg_color(dot_status, CLR_CYBER_BLUE);
    sgl_label_set_radius(dot_status, 4);

    sgl_obj_t *lbl_link = sgl_label_create(root_page);
    sgl_label_set_text(lbl_link, "SGL Demo");
    sgl_label_set_font(lbl_link, &consolas14);
    sgl_label_set_text_color(lbl_link, CLR_CYBER_BLUE);
    sgl_obj_set_size(lbl_link, 60, 16);
    sgl_obj_set_pos(lbl_link, 24, 6);

    sgl_obj_t *lbl_date = sgl_label_create(root_page);
    char d_buff[16] = __DATE__;
    sgl_label_set_text(lbl_date, d_buff);
    sgl_label_set_font(lbl_date, &consolas14);
    sgl_label_set_text_color(lbl_date, CLR_CYBER_BLUE);
    sgl_obj_set_size(lbl_date, 80, 16);
    sgl_obj_set_pos(lbl_date, 150, 6);
    sgl_label_set_text_align(lbl_date, SGL_ALIGN_RIGHT_MID);

    // ---------------------------------------------------------
    // 2. Time 大时钟面板
    // ---------------------------------------------------------
    sgl_obj_t *time_r = sgl_rect_create(root_page);
    sgl_obj_set_pos(time_r, 10, 30);
    sgl_obj_set_size(time_r, 220, 70);
    sgl_rect_set_color(time_r, CLR_CARD_BG);
    sgl_rect_set_border_width(time_r, 1);
    sgl_rect_set_border_color(time_r, CLR_DIVIDER);
    sgl_rect_set_radius(time_r, 6);

    sgl_obj_t *lbl_time = sgl_label_create(time_r);
    sgl_label_set_font(lbl_time, &consolas56);
    sgl_label_set_text_color(lbl_time, CLR_TEXT);
    sgl_obj_set_size(lbl_time, 160, 70);
    sgl_obj_set_pos(lbl_time, 10, 0);
    sgl_label_set_text_align(lbl_time, SGL_ALIGN_CENTER);

    uint32_t sec = g_time_value % 86400;
    uint8_t hh = sec / 3600;
    uint8_t mm = (sec % 3600) / 60;
    uint8_t ss = sec % 60;
    char time_str1[16] = {0};
    sprintf(time_str1, "%02u:%02u", hh, mm);
    sgl_label_set_text(lbl_time, time_str1);

    sgl_obj_t *lbl_mon = sgl_label_create(time_r);
    sgl_label_set_text(lbl_mon, "THU");
    sgl_label_set_font(lbl_mon, &consolas18);
    sgl_label_set_text_color(lbl_mon, CLR_TEXT_GRAY);
    sgl_obj_set_size(lbl_mon, 30, 20);
    sgl_obj_set_pos(lbl_mon, 175, 10);

    sgl_obj_t *lbl_sec = sgl_label_create(time_r);
    sgl_label_set_font(lbl_sec, &consolas18);
    sgl_label_set_text_color(lbl_sec, CLR_TEXT_GRAY);
    sgl_obj_set_size(lbl_sec, 30, 20);
    sgl_obj_set_pos(lbl_sec, 175, 35);

    char time_str2[8] = {0};
    sprintf(time_str2, "%02u", ss);
    sgl_label_set_text(lbl_sec, time_str2);

    // ---------------------------------------------------------
    // 3. Env 温湿度卡片组
    // ---------------------------------------------------------
    // --- 3.1 左侧温度 ---
    sgl_obj_t *temp_r = sgl_rect_create(root_page);
    sgl_obj_set_size(temp_r, 106, 65);
    sgl_obj_set_pos(temp_r, 10, 110);
    sgl_rect_set_color(temp_r, CLR_CARD_BG);
    sgl_rect_set_border_width(temp_r, 1);
    sgl_rect_set_border_color(temp_r, CLR_DIVIDER);
    sgl_rect_set_radius(temp_r, 4);

    sgl_obj_t *lbl_t_title = sgl_label_create(temp_r);
    sgl_label_set_text(lbl_t_title, "TEMP");
    sgl_label_set_font(lbl_t_title, &consolas14);
    sgl_label_set_text_color(lbl_t_title, CLR_TEXT_GRAY);
    sgl_obj_set_size(lbl_t_title, 106, 16);
    sgl_obj_set_pos(lbl_t_title, 0, 0);

    sgl_obj_t *lbl_t_val = sgl_label_create(temp_r);
    char str_temp[16] = {0};
    sprintf(str_temp, "%d.%d", g_temp_value / 10, g_temp_value % 10);
    sgl_label_set_text(lbl_t_val, str_temp);
    sgl_label_set_font(lbl_t_val, &consolas32);
    sgl_label_set_text_color(lbl_t_val, CLR_NEON_GREEN);
    sgl_obj_set_size(lbl_t_val, 66, 40);
    sgl_obj_set_pos(lbl_t_val, 10, 14);

    sgl_obj_t *lbl_t_unit = sgl_label_create(temp_r);
    sgl_label_set_text(lbl_t_unit, " C");
    sgl_label_set_font(lbl_t_unit, &consolas18);
    sgl_label_set_text_color(lbl_t_unit, CLR_TEXT_GRAY);
    sgl_obj_set_size(lbl_t_unit, 40, 18);
    sgl_obj_set_pos(lbl_t_unit, 66, 30);

    // progress
    sgl_obj_t *t_line = sgl_bar_create(temp_r);
    sgl_obj_set_size(t_line, 86, 4);
    sgl_obj_set_pos(t_line, 10, 54);
    sgl_bar_set_value(t_line, g_temp_value / 10);
    sgl_bar_set_fill_color(t_line, CLR_NEON_GREEN);
    sgl_bar_set_track_color(t_line, CLR_DIVIDER);
    sgl_bar_set_border_width(t_line, 0);

    // --- 3.2 右侧湿度 ---
    sgl_obj_t *humi_r = sgl_rect_create(root_page);
    sgl_obj_set_size(humi_r, 106, 65);
    sgl_obj_set_pos(humi_r, 124, 110);
    sgl_rect_set_color(humi_r, CLR_CARD_BG);
    sgl_rect_set_border_width(humi_r, 1);
    sgl_rect_set_border_color(humi_r, CLR_DIVIDER);
    sgl_rect_set_radius(humi_r, 4);

    sgl_obj_t *lbl_h_title = sgl_label_create(humi_r);
    sgl_label_set_text(lbl_h_title, "HUMI");
    sgl_label_set_font(lbl_h_title, &consolas14);
    sgl_label_set_text_color(lbl_h_title, CLR_TEXT_GRAY);
    sgl_obj_set_size(lbl_h_title, 106, 16);
    sgl_obj_set_pos(lbl_h_title, 0, 0);

    sgl_obj_t *lbl_h_val = sgl_label_create(humi_r);
    char str_humi[16] = {0};
    sprintf(str_humi, "%d.%d", g_humi_value / 10, g_humi_value % 10);
    sgl_label_set_text(lbl_h_val, str_humi);
    sgl_label_set_font(lbl_h_val, &consolas32);
    sgl_label_set_text_color(lbl_h_val, CLR_CYBER_BLUE);
    sgl_obj_set_size(lbl_h_val, 66, 40);
    sgl_obj_set_pos(lbl_h_val, 10, 14);

    sgl_obj_t *lbl_h_unit = sgl_label_create(humi_r);
    sgl_label_set_text(lbl_h_unit, "%");
    sgl_label_set_font(lbl_h_unit, &consolas18);
    sgl_label_set_text_color(lbl_h_unit, CLR_TEXT_GRAY);
    sgl_obj_set_size(lbl_h_unit, 40, 18);
    sgl_obj_set_pos(lbl_h_unit, 66, 30);

    // progress
    sgl_obj_t *h_line = sgl_bar_create(humi_r);
    sgl_obj_set_size(h_line, 86, 4);
    sgl_obj_set_pos(h_line, 10, 54);
    sgl_bar_set_value(h_line, g_humi_value / 10);
    sgl_bar_set_fill_color(h_line, CLR_CYBER_BLUE);
    sgl_bar_set_track_color(h_line, CLR_DIVIDER);
    sgl_bar_set_border_width(h_line, 0);

    // ---------------------------------------------------------
    // 4. 底部控制区 & 图表
    // ---------------------------------------------------------
    // --- 主灯 (高亮边框) ---
    sgl_obj_t *light_r = sgl_rect_create(root_page);
    sgl_obj_set_size(light_r, 106, 55);
    sgl_obj_set_pos(light_r, 10, 185);
    sgl_rect_set_color(light_r, CLR_CARD_BG);
    sgl_rect_set_border_width(light_r, 1);
    sgl_rect_set_border_color(light_r, CLR_DIVIDER);
    sgl_rect_set_radius(light_r, 4);

    // light icon
    icon_light_r = sgl_icon_create(light_r);
    sgl_obj_set_size(icon_light_r, 40, 40);
    sgl_icon_set_icon(icon_light_r, &icon_light);
    sgl_icon_set_color(icon_light_r, CLR_TEXT_GRAY);
    sgl_obj_set_pos(icon_light_r, 0, 0);

    sgl_obj_t *lbl_light_val = sgl_label_create(light_r);
    sgl_label_set_text(lbl_light_val, "0");
    sgl_label_set_font(lbl_light_val, &consolas14);
    sgl_label_set_text_color(lbl_light_val, CLR_TEXT_GRAY);
    sgl_obj_set_size(lbl_light_val, 40, 15);
    sgl_obj_set_pos(lbl_light_val, 0, 40);

    sgl_obj_t *lbl_light = sgl_label_create(light_r);
    sgl_label_set_text(lbl_light, "LIGHT");
    sgl_label_set_font(lbl_light, &consolas18);
    sgl_label_set_text_color(lbl_light, CLR_TEXT_GRAY);
    sgl_obj_set_size(lbl_light, 60, 40);
    sgl_obj_set_pos(lbl_light, 40, 0);

    sgl_obj_t *slider_light = sgl_slider_create(light_r);
    sgl_obj_set_size(slider_light, 60, 8);
    sgl_obj_set_pos(slider_light, 40, 40);
    sgl_slider_set_value(slider_light, 20);
    sgl_slider_set_fill_color(slider_light, CLR_CYBER_BLUE);
    sgl_slider_set_knob_color(slider_light, CLR_NEON_GREEN);
    sgl_slider_set_track_color(slider_light, CLR_TEXT_GRAY);

    sgl_obj_set_event_cb(slider_light, light_cb, lbl_light_val);

    // --- 风扇 ---
    fan_r = sgl_rect_create(root_page);
    sgl_obj_set_size(fan_r, 49, 60);
    sgl_obj_set_pos(fan_r, 10, 248);
    sgl_rect_set_color(fan_r, CLR_CARD_BG);
    sgl_rect_set_border_width(fan_r, 1);
    sgl_rect_set_border_color(fan_r, CLR_DIVIDER);
    sgl_rect_set_radius(fan_r, 4);

    // fan icon
    sgl_obj_t *icon_fan_r = sgl_icon_create(fan_r);
    sgl_obj_set_size(icon_fan_r, 49, 32);
    sgl_icon_set_icon(icon_fan_r, &icon_fan);
    sgl_icon_set_color(icon_fan_r, CLR_TEXT_GRAY);
    sgl_obj_set_pos(icon_fan_r, 0, 4);

    fan_anim = sgl_anim_create();
    sgl_anim_set_data(fan_anim, icon_fan_r);
    sgl_anim_set_path(fan_anim, fan_anim_cb, sgl_anim_path_linear);
    sgl_anim_set_start_value(fan_anim, 0);
    sgl_anim_set_end_value(fan_anim, 2);
    sgl_anim_set_act_duration(fan_anim, 400);

    sgl_obj_t *lbl_fan = sgl_label_create(fan_r);
    sgl_label_set_text(lbl_fan, "FAN");
    sgl_label_set_font(lbl_fan, &consolas14);
    sgl_label_set_text_color(lbl_fan, CLR_TEXT_GRAY);
    sgl_obj_set_size(lbl_fan, 49, 28);
    sgl_obj_set_pos(lbl_fan, 0, 34);

    sgl_obj_set_event_cb(fan_r, fan_click_cb, icon_fan_r);

    // --- 锁 ---
    lock_r = sgl_rect_create(root_page);
    sgl_obj_set_size(lock_r, 49, 60);
    sgl_obj_set_pos(lock_r, 67, 248);
    sgl_rect_set_color(lock_r, CLR_CARD_BG);
    sgl_rect_set_border_width(lock_r, 1);
    sgl_rect_set_border_color(lock_r, CLR_DIVIDER);
    sgl_rect_set_radius(lock_r, 4);

    // fan icon
    sgl_obj_t *icon_lock_r = sgl_icon_create(lock_r);
    sgl_obj_set_size(icon_lock_r, 49, 32);
    sgl_icon_set_icon(icon_lock_r, &icon_lock);
    sgl_icon_set_color(icon_lock_r, CLR_TEXT_GRAY);
    sgl_obj_set_pos(icon_lock_r, 0, 4);

    sgl_obj_t *lbl_lock = sgl_label_create(lock_r);
    sgl_label_set_text(lbl_lock, "LOCK");
    sgl_label_set_font(lbl_lock, &consolas14);
    sgl_label_set_text_color(lbl_lock, CLR_TEXT_GRAY);
    sgl_obj_set_size(lbl_lock, 49, 28);
    sgl_obj_set_pos(lbl_lock, 0, 34);

    sgl_obj_set_event_cb(lock_r, lock_click_cb, icon_lock_r);

    // --- 右侧波形图 (MonkeyPi) ---
    sgl_obj_t *chart_r = sgl_rect_create(root_page);
    sgl_obj_set_size(chart_r, 106, 123);
    sgl_obj_set_pos(chart_r, 124, 185);
    sgl_rect_set_color(chart_r, CLR_CARD_BG);
    sgl_rect_set_border_width(chart_r, 1);
    sgl_rect_set_border_color(chart_r, CLR_DIVIDER);
    sgl_rect_set_radius(chart_r, 4);

    sgl_obj_t *lbl_c_title = sgl_label_create(chart_r);
    sgl_label_set_text(lbl_c_title, "@ MonkeyPi");
    sgl_label_set_font(lbl_c_title, &consolas14);
    sgl_label_set_text_color(lbl_c_title, CLR_TEXT);
    sgl_obj_set_size(lbl_c_title, 106, 20);
    sgl_obj_set_pos(lbl_c_title, 0, 0);

    // 绘制底部 Scope 波形组件
    sgl_obj_t *scope_dyn = sgl_scope_create(chart_r);
    sgl_obj_set_size(scope_dyn, 106, 100);
    sgl_obj_set_pos(scope_dyn, 0, 24);
    sgl_scope_set_range(scope_dyn, 0, 100);
    sgl_scope_set_bg_color(scope_dyn, CLR_PLOT_BG);
    sgl_scope_set_line_width(scope_dyn, 1);
    sgl_scope_set_waveform_color(scope_dyn, CLR_MAGENTA);
    sgl_scope_set_data_buffer(scope_dyn, g_plot_buff0, PLOT_BUFF_LEN);
    sgl_scope_enable_auto_scale(scope_dyn, true);
    sgl_scope_show_y_labels(scope_dyn, true);
    sgl_scope_set_y_label_color(scope_dyn, CLR_TEXT_GRAY);
    sgl_scope_set_y_label_font(scope_dyn, &consolas14);

    //////////////////////////////////////////////////

    uint32_t ticks_touch = HAL_GetTick();
    uint32_t ticks_led = HAL_GetTick();
    uint32_t ticks_seconds = HAL_GetTick();
    uint32_t plot_counter_index = 0;

    // HAL_Delay(5000);

    /* USER CODE END 2 */

    /* Infinite loop */
    while (1)
    {

        /* USER CODE BEGIN 3 */

        // sgl gui task
        sgl_task_handle();

        if ((HAL_GetTick() - ticks_touch) > 30)
        {
            ticks_touch = HAL_GetTick();

            // touch read
            touch_read_event();
        }

        if ((HAL_GetTick() - ticks_led) > 200)
        {
            ticks_led = HAL_GetTick();

            HAL_GPIO_TogglePin(LED_GPIO_Port, LED_Pin);

            // log_info("led toggle: %d", ticks_led);

            // monitor a value
            int8_t th = (ticks_led % 2) ? 1 : (-1);
            g_temp_value = g_temp_value + th * (ticks_led % 7) * 2;
            sprintf(str_temp, "%d.%d", g_temp_value / 10, g_temp_value % 10);
            sgl_label_set_text(lbl_t_val, str_temp);

            g_humi_value = g_humi_value + th * (ticks_led % 9) * 2;
            sprintf(str_humi, "%d.%d", g_humi_value / 10, g_humi_value % 10);
            sgl_label_set_text(lbl_h_val, str_humi);

            sgl_bar_set_value(t_line, g_temp_value / 10);
            sgl_bar_set_value(h_line, g_humi_value / 10);

            // plot to scope
            g_plot_value = (ticks_led % 10) * 10 + th * (ticks_led % 10);
            log_debug("plot value: %d", g_plot_value);

            uint32_t index = plot_counter_index % PLOT_BUFF_LEN;
            g_plot_buff0[index] = g_plot_value;
            sgl_scope_append_data(scope_dyn, g_plot_value);

            plot_counter_index++;
        }

        if ((HAL_GetTick() - ticks_seconds) > 1000)
        {
            ticks_seconds = HAL_GetTick();

            log_info("1 seconds");

            uint32_t sec = g_time_value % 86400;
            uint8_t hh = sec / 3600;
            uint8_t mm = (sec % 3600) / 60;
            uint8_t ss = sec % 60;

            char time_str1[16] = {0};
            sprintf(time_str1, "%02u:%02u", hh, mm);
            sgl_label_set_text(lbl_time, time_str1);

            char time_str2[8] = {0};
            sprintf(time_str2, "%02u", ss);
            sgl_label_set_text(lbl_sec, time_str2);

            g_time_value++;
        }
    }
    /* USER CODE END 3 */
}

void SystemClock_Config(void)
{
    RCC_OscInitTypeDef RCC_OscInitStruct = {0};
    RCC_ClkInitTypeDef RCC_ClkInitStruct = {0};

    /** Configure the main internal regulator output voltage
     */
    HAL_PWREx_ControlVoltageScaling(PWR_REGULATOR_VOLTAGE_SCALE1);

    /** Initializes the RCC Oscillators according to the specified parameters
     * in the RCC_OscInitTypeDef structure.
     */
    RCC_OscInitStruct.OscillatorType = RCC_OSCILLATORTYPE_HSI;
    RCC_OscInitStruct.HSIState = RCC_HSI_ON;
    RCC_OscInitStruct.HSIDiv = RCC_HSI_DIV1;
    RCC_OscInitStruct.HSICalibrationValue = RCC_HSICALIBRATION_DEFAULT;
    RCC_OscInitStruct.PLL.PLLState = RCC_PLL_ON;
    RCC_OscInitStruct.PLL.PLLSource = RCC_PLLSOURCE_HSI;
    RCC_OscInitStruct.PLL.PLLM = RCC_PLLM_DIV1;
    RCC_OscInitStruct.PLL.PLLN = 8;
    RCC_OscInitStruct.PLL.PLLP = RCC_PLLP_DIV2;
    RCC_OscInitStruct.PLL.PLLR = RCC_PLLR_DIV2;
    if (HAL_RCC_OscConfig(&RCC_OscInitStruct) != HAL_OK)
    {
        Error_Handler();
    }

    /** Initializes the CPU, AHB and APB buses clocks
     */
    RCC_ClkInitStruct.ClockType = RCC_CLOCKTYPE_HCLK | RCC_CLOCKTYPE_SYSCLK | RCC_CLOCKTYPE_PCLK1;
    RCC_ClkInitStruct.SYSCLKSource = RCC_SYSCLKSOURCE_PLLCLK;
    RCC_ClkInitStruct.AHBCLKDivider = RCC_SYSCLK_DIV1;
    RCC_ClkInitStruct.APB1CLKDivider = RCC_HCLK_DIV1;

    if (HAL_RCC_ClockConfig(&RCC_ClkInitStruct, FLASH_LATENCY_2) != HAL_OK)
    {
        Error_Handler();
    }
}

void Error_Handler(void)
{
    __disable_irq();
    while (1)
    {
    }
}

#ifdef USE_FULL_ASSERT
/**
 * @brief  Reports the name of the source file and the source line number
 *         where the assert_param error has occurred.
 * @param  file: pointer to the source file name
 * @param  line: assert_param error line source number
 * @retval None
 */
void assert_failed(uint8_t *file, uint32_t line)
{
    /* USER CODE BEGIN 6 */
    /* User can add his own implementation to report the file name and line
       number, ex: printf("Wrong parameters value: file %s on line %d\r\n", file,
       line) */
    /* USER CODE END 6 */
}
#endif /* USE_FULL_ASSERT */
